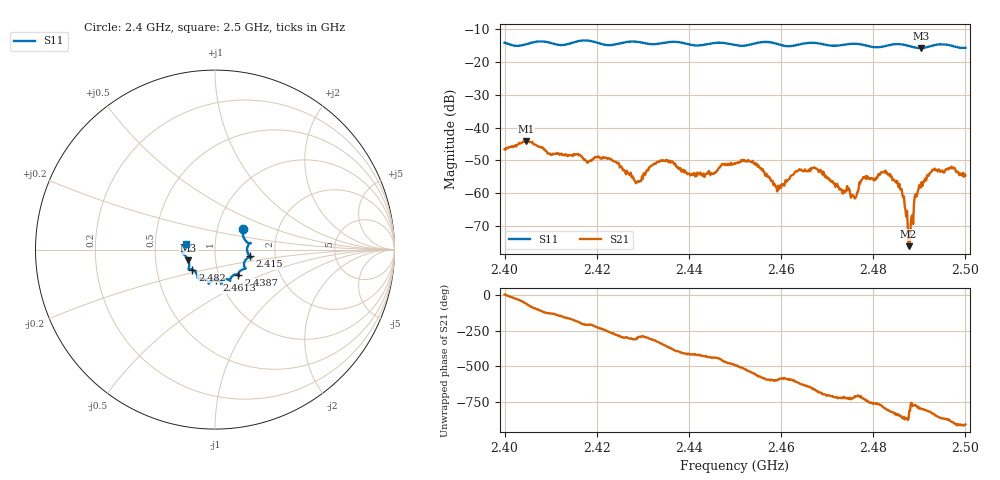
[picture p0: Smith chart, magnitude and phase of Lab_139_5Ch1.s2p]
# Hz S RI R 50
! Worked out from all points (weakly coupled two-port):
!   601 points, 2.4 GHz to 2.5 GHz, reference 50 ohm
!   highest |S21| = -44.04 dB at 2.4047 GHz (marker M1); lowest = -76.0 dB at 2.4877 GHz (marker M2)
!   lowest |S11| = -15.9 dB at 2.4903 GHz (marker M3), VSWR 1.38, Z = 36.8 - j4.43 ohm
!   |S11| at or under -10 dB: start of sweep to end of sweep
!   S12 and S22 are empty: the file has one direction only
!   S11 on the Smith chart (normalised r, x): 2.4 GHz: 1.33, +0.31; 2.415 GHz: 1.47, -0.11; 2.4387 GHz: 1.24, -0.36; 2.4613 GHz: 0.96, -0.34; 2.482 GHz: 0.76, -0.17; 2.5 GHz: 0.72, +0.05
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2.4e9  0.1581 0.112  0.00465 0.000522  0 0  0 0
2.404667e9  0.1787 0.0411  0.00334 -0.00532  0 0  0 0
2.415e9  0.1926 -0.0361  -0.00392 -0.000479  0 0  0 0
2.416667e9  0.2037 -0.0441  -0.00345 0.00109  0 0  0 0
2.423e9  0.1629 -0.072  -0.000479 0.00325  0 0  0 0
2.428833e9  0.1689 -0.1059  0.000656 0.00135  0 0  0 0
2.433333e9  0.1323 -0.1316  0.0026 0.00154  0 0  0 0
2.438667e9  0.1303 -0.1412  0.00156 -0.00166  0 0  0 0
2.45e9  0.0689 -0.1649  -0.00185 -0.00209  0 0  0 0
2.454333e9  0.0338 -0.1859  -0.00267 0.000682  0 0  0 0
2.459167e9  0.0322 -0.1824  -0.000559 0.000913  0 0  0 0
2.461333e9  0.00783 -0.1713  -0.000957 0.00121  0 0  0 0
2.466667e9  -0.0348 -0.1901  0.000911 0.00221  0 0  0 0
2.475667e9  -0.0947 -0.1611  0.000927 -6.48e-05  0 0  0 0
2.477833e9  -0.0977 -0.151  0.00176 -0.000148  0 0  0 0
2.482e9  -0.1259 -0.1118  0.000979 -0.00185  0 0  0 0
2.483333e9  -0.1396 -0.1089  1.48e-05 -0.00192  0 0  0 0
2.486167e9  -0.1482 -0.1064  -0.000886 -0.000745  0 0  0 0
2.487667e9  -0.1443 -0.0961  -0.000134 -8.39e-05  0 0  0 0
2.490333e9  -0.1491 -0.0586  0.000269 -0.0012  0 0  0 0
2.493333e9  -0.177 -0.025  -0.00118 -0.00207  0 0  0 0
2.5e9  -0.1588 0.0324  -0.00185 0.000284  0 0  0 0
